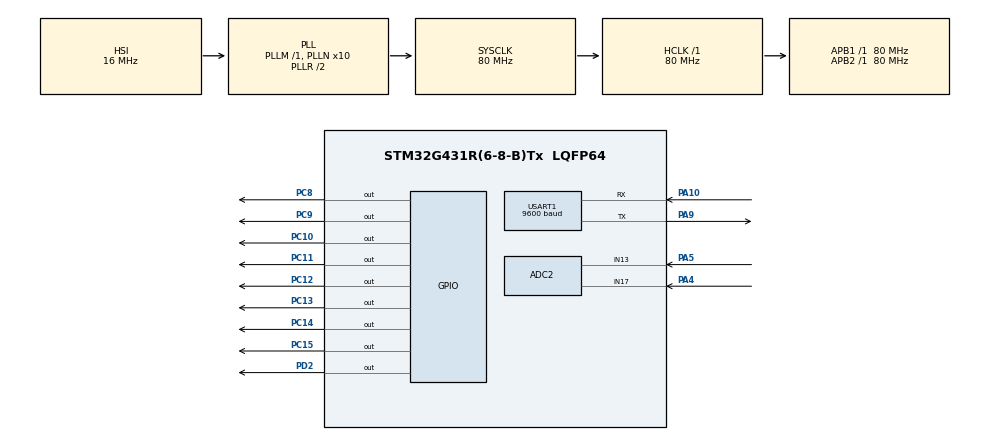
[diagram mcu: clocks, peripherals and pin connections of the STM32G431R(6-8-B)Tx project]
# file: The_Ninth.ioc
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ADC2.Channel-0\#ChannelRegularConversion=ADC_CHANNEL_17
ADC2.NbrOfConversionFlag=1
ADC2.OffsetNumber-0\#ChannelRegularConversion=ADC_OFFSET_NONE
ADC2.Rank-0\#ChannelRegularConversion=1
ADC2.SamplingTime-0\#ChannelRegularConversion=ADC_SAMPLETIME_2CYCLES_5
Mcu.Family=STM32G4
Mcu.Name=STM32G431R(6-8-B)Tx
Mcu.Package=LQFP64
NVIC.PriorityGroup=NVIC_PRIORITYGROUP_4
NVIC.USART1_IRQn=true\:1\:0\:true\:false\:true\:true\:true
PA10.Mode=Asynchronous
PA10.Signal=USART1_RX
PA4.Mode=IN17-Single-Ended
PA4.Signal=ADC2_IN17
PA5.Mode=IN13-Single-Ended
PA5.Signal=ADC2_IN13
PA9.Mode=Asynchronous
PA9.Signal=USART1_TX
PC10.Signal=GPIO_Output
PC11.Signal=GPIO_Output
PC12.Signal=GPIO_Output
PC13.Signal=GPIO_Output
PC14-OSC32_IN.Signal=GPIO_Output
PC15-OSC32_OUT.Signal=GPIO_Output
PC8.Signal=GPIO_Output
PC9.Signal=GPIO_Output
PD2.Signal=GPIO_Output
ProjectManager.HeapSize=0x200
ProjectManager.StackSize=0x400
ProjectManager.TargetToolchain=MDK-ARM V5.32
RCC.ADC12Freq_Value=80000000
RCC.AHBFreq_Value=80000000
RCC.APB1Freq_Value=80000000
RCC.APB1TimFreq_Value=80000000
RCC.APB2Freq_Value=80000000
RCC.APB2TimFreq_Value=80000000
RCC.CortexFreq_Value=80000000
RCC.EXTERNAL_CLOCK_VALUE=12288000
RCC.HCLKFreq_Value=80000000
RCC.HSE_VALUE=8000000
RCC.HSI48_VALUE=48000000
RCC.HSI_VALUE=16000000
RCC.LSE_VALUE=32768
RCC.PLLN=10
RCC.SYSCLKFreq_VALUE=80000000
RCC.SYSCLKSource=RCC_SYSCLKSOURCE_PLLCLK
RCC.USBFreq_Value=80000000
RCC.VCOOutputFreq_Value=160000000
USART1.BaudRate=9600
USART1.VirtualMode-Asynchronous=VM_ASYNC
VP_SYS_VS_DBSignals.Mode=DisableDeadBatterySignals
board=custom

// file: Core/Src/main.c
/* USER CODE BEGIN Header */
/**
  ******************************************************************************
  * @file           : main.c
  * @brief          : Main program body
  ******************************************************************************
  * @attention
  *
  * Copyright (c) 2022 STMicroelectronics.
  * All rights reserved.
  *
  * This software is licensed under terms that can be found in the LICENSE file
  * in the root directory of this software component.
  * If no LICENSE file comes with this software, it is provided AS-IS.
  *
  ******************************************************************************
  */
/* USER CODE END Header */
#include "main.h"
#include "adc.h"
#include "usart.h"
#include "gpio.h"

/* USER CODE BEGIN PV */
__IO uint32_t uwTick_Lcd_Set_Point;
__IO uint32_t uwTick_ADC_Set_Point;
__IO uint32_t uwTick_Key_Set_Point;
__IO uint32_t uwTick_Key_Long_Set_Point;
__IO uint32_t uwTick_Led1_Set_Point;
__IO uint32_t uwTick_Led2_Set_Point;

unsigned char pucStr_Disp[21],  pucStr[21];
float ADC_Value, Weight;
double Price_1, Price_2, Price_3, Total;
uint8_t Num = 1;
unsigned char ucKey_Down, ucKey_Val, ucKey_Old, ucKey_Up;
uint8_t State;
uint16_t Setting_Num;
uint16_t puiUw[3], puiUw_Old[3], ADC_RP5[11];
unsigned char str[40];
uint8_t Flag_Usart1, Flag_Led;
unsigned char ucLed;
/* USER CODE END PV */

void SystemClock_Config(void);
/* USER CODE BEGIN PFP */
void Lcd_Proc(void);
void ADC_Proc(void);
void Key_Proc(void);
void S1_Proc(void);
void S2_Proc(void);
void S3_Proc(void);
void Para_Read(void);
void USART_Proc(void);
void Led1_Proc(void);
void Led2_Proc(void);
void Led_Proc(void);
/* USER CODE END PFP */

int main(void)
{

  /* MCU Configuration--------------------------------------------------------*/

  /* Reset of all peripherals, Initializes the Flash interface and the Systick. */
  HAL_Init();

  /* Configure the system clock */
  SystemClock_Config();

  /* Initialize all configured peripherals */
  MX_GPIO_Init();
  MX_ADC2_Init();
  MX_USART1_UART_Init();
  /* USER CODE BEGIN 2 */
	LCD_Init();
	LCD_Clear(Black);
	LCD_SetBackColor(Black);
	LCD_SetTextColor(White);

	I2CInit();
	Para_Read();

  /* USER CODE END 2 */

  /* Infinite loop */
  while (1)
  {

    /* USER CODE BEGIN 3 */
		Lcd_Proc();
		ADC_Proc();
		Key_Proc();
		USART_Proc();
		Led_Proc();
  }
  /* USER CODE END 3 */
}

void SystemClock_Config(void)
{
  RCC_OscInitTypeDef RCC_OscInitStruct = {0};
  RCC_ClkInitTypeDef RCC_ClkInitStruct = {0};

  /** Configure the main internal regulator output voltage
  */
  HAL_PWREx_ControlVoltageScaling(PWR_REGULATOR_VOLTAGE_SCALE1);
  /** Initializes the RCC Oscillators according to the specified parameters
  * in the RCC_OscInitTypeDef structure.
  */
  RCC_OscInitStruct.OscillatorType = RCC_OSCILLATORTYPE_HSI;
  RCC_OscInitStruct.HSIState = RCC_HSI_ON;
  RCC_OscInitStruct.HSICalibrationValue = RCC_HSICALIBRATION_DEFAULT;
  RCC_OscInitStruct.PLL.PLLState = RCC_PLL_ON;
  RCC_OscInitStruct.PLL.PLLSource = RCC_PLLSOURCE_HSI;
  RCC_OscInitStruct.PLL.PLLM = RCC_PLLM_DIV1;
  RCC_OscInitStruct.PLL.PLLN = 10;
  RCC_OscInitStruct.PLL.PLLP = RCC_PLLP_DIV2;
  RCC_OscInitStruct.PLL.PLLQ = RCC_PLLQ_DIV2;
  RCC_OscInitStruct.PLL.PLLR = RCC_PLLR_DIV2;
  if (HAL_RCC_OscConfig(&RCC_OscInitStruct) != HAL_OK)
  {
    Error_Handler();
  }
  /** Initializes the CPU, AHB and APB buses clocks
  */
  RCC_ClkInitStruct.ClockType = RCC_CLOCKTYPE_HCLK|RCC_CLOCKTYPE_SYSCLK
                              |RCC_CLOCKTYPE_PCLK1|RCC_CLOCKTYPE_PCLK2;
  RCC_ClkInitStruct.SYSCLKSource = RCC_SYSCLKSOURCE_PLLCLK;
  RCC_ClkInitStruct.AHBCLKDivider = RCC_SYSCLK_DIV1;
  RCC_ClkInitStruct.APB1CLKDivider = RCC_HCLK_DIV1;
  RCC_ClkInitStruct.APB2CLKDivider = RCC_HCLK_DIV1;

  if (HAL_RCC_ClockConfig(&RCC_ClkInitStruct, FLASH_LATENCY_2) != HAL_OK)
  {
    Error_Handler();
  }
}
/* USER CODE BEGIN 4 */
void Para_Read(void)
{
	I2C_24C02_Read(pucStr, 0, 8);
	if(pucStr[0] == 0xaa)
	{
		puiUw[0] = pucStr[2] * 100 + pucStr[1];
		puiUw[1] = pucStr[4] * 100 + pucStr[3];
		puiUw[2] = pucStr[6] * 100 + pucStr[5];
		Setting_Num = pucStr[7];
	}
	else
	{
		puiUw[0] = 100;
		puiUw[1] = 100;
		puiUw[2] = 100;
		Setting_Num = 0;
	}
}

void Lcd_Proc(void)
{
	if((uwTick - uwTick_Lcd_Set_Point) <= 100)
		return;
	uwTick_Lcd_Set_Point = uwTick;

	if(!State)
	{
		sprintf((char*)pucStr_Disp, "      Parament      ");
		LCD_DisplayStringLine(Line0, pucStr_Disp);
		sprintf((char*)pucStr_Disp, "    Num:%1u           ", Num);
		LCD_DisplayStringLine(Line2, pucStr_Disp);
		sprintf((char*)pucStr_Disp, "    Price:%.2lfR/kg  ", puiUw[Num - 1] / 100.);
		LCD_DisplayStringLine(Line4, pucStr_Disp);
		sprintf((char*)pucStr_Disp, "    Weight:%.2fkg    ", Weight);
		LCD_DisplayStringLine(Line6, pucStr_Disp);
		sprintf((char*)pucStr_Disp, "    Total:%.2lfRMB   ", Total);
		LCD_DisplayStringLine(Line8, pucStr_Disp);
	}
	else
	{
		sprintf((char*)pucStr_Disp, "      Setting       ");
		LCD_DisplayStringLine(Line0, pucStr_Disp);

		if(State == 1) LCD_SetBackColor(Red);
		sprintf((char*)pucStr_Disp, "    1_Price:%.2lfR/kg ", puiUw[0] / 100.);
		LCD_DisplayStringLine(Line2, pucStr_Disp);
		LCD_SetBackColor(Black);

		if(State == 2) LCD_SetBackColor(Red);
		sprintf((char*)pucStr_Disp, "    2_Price:%.2lfR/kg ", puiUw[1] / 100.);
		LCD_DisplayStringLine(Line4, pucStr_Disp);
		LCD_SetBackColor(Black);

		if(State == 3) LCD_SetBackColor(Red);
		sprintf((char*)pucStr_Disp, "    3_Price:%.2lfR/kg ", puiUw[2] / 100.);
		LCD_DisplayStringLine(Line6, pucStr_Disp);
		LCD_SetBackColor(Black);

		sprintf((char*)pucStr_Disp, "    Set_Num:%u        ", Setting_Num);
		LCD_DisplayStringLine(Line8, pucStr_Disp);
	}
}

void ADC_Proc(void)
{
	int temp = 0;

	if((uwTick - uwTick_ADC_Set_Point) <= 10)
		return;
	uwTick_ADC_Set_Point = uwTick;

	for(int i = 0; i < 11; i++)
	{
		ADC_RP5[i] = Get_ADC2_RP5();
	}
	for(int i = 0; i < 5; i++)
	{
		for(int j = 0; j < 10 - i; j++)
		{
			if(ADC_RP5[j] > ADC_RP5[j + 1])
			{
				temp = ADC_RP5[j + 1];
				ADC_RP5[j + 1] = ADC_RP5[j];
				ADC_RP5[j] = temp;
			}
		}
	}
	Weight =  ADC_RP5[5] / 4095. * 3.3 * 3.03;
}

void USART_Proc(void)
{
	if(Flag_Usart1 == 1)
	{
		sprintf((char*)str, "U.W.1:%.2f\r\n", puiUw[0] / 100.);
		HAL_UART_Transmit(&huart1, (u8*)str, strlen((char*)str), 50);
		sprintf((char*)str, "U.W.2:%.2f\r\n", puiUw[1] / 100.);
		HAL_UART_Transmit(&huart1, (u8*)str, strlen((char*)str), 50);
		sprintf((char*)str, "U.W.3:%.2f\r\n", puiUw[2] / 100.);
		HAL_UART_Transmit(&huart1, (u8*)str, strlen((char*)str), 50);
	}
	else if(Flag_Usart1 == 2)
	{
		if(Num == 1)
		{
			sprintf((char*)str, "U.W.1:%.2f\r\n", puiUw[0] / 100.);
		}
		else if(Num == 2)
		{
			sprintf((char*)str, "U.W.2:%.2f\r\n", puiUw[1] / 100.);
		}
		else if(Num == 3)
		{
			sprintf((char*)str, "U.W.3:%.2f\r\n", puiUw[2] / 100.);
		}
		HAL_UART_Transmit(&huart1, (u8*)str, strlen((char*)str), 50);
		sprintf((char*)str, "G.W:%.2f\r\n", Weight);
		HAL_UART_Transmit(&huart1, (u8*)str, strlen((char*)str), 50);
		sprintf((char*)str, "Total:%.2f\r\n", Total);
		HAL_UART_Transmit(&huart1, (u8*)str, strlen((char*)str), 50);
	}

	Flag_Usart1 = 0;
}

void Key_Proc(void)
{
	if((uwTick - uwTick_Key_Set_Point) <= 50)
		return;
	uwTick_Key_Set_Point = uwTick;

	ucKey_Val = Scan_Btn();
	ucKey_Down = ucKey_Val & (ucKey_Old ^ ucKey_Val);
	ucKey_Up = ~ucKey_Val & (ucKey_Old ^ ucKey_Val);
	ucKey_Old = ucKey_Val;

	if(ucKey_Down > 0)
		uwTick_Key_Long_Set_Point = uwTick;

	if((uwTick - uwTick_Key_Long_Set_Point) <= 800)
	{
		switch(ucKey_Up)
		{
			case 1:
				S1_Proc();
			break;

			case 2:
				S2_Proc();
			break;

			case 3:
				S3_Proc();
			break;

			case 4:
				if(State)
				{
					if(++State == 4)
						State = 1;
				}
			break;

			case 5:
				if(!State)
					Num = 1;
			break;

			case 6:
				if(!State)
					Num = 2;
			break;

			case 7:
				if(!State)
					Num = 3;
			break;

			case 8:
				if(!State)
				{
					Flag_Usart1 = 2;

					Total = puiUw[Num - 1] * Weight;
				}
			break;
		}
	}
	else
	{
		switch(ucKey_Val)
		{
			case 2:
				if(State)
				{
					S2_Proc();
				}
			break;

			case 3:
				if(State)
				{
					S3_Proc();
				}
			break;
		}
	}
}

void S1_Proc(void)
{
	if(!State)
	{
		State = 1;
		Flag_Led = 1;

		puiUw_Old[0] = puiUw[0];
		puiUw_Old[1] = puiUw[1];
		puiUw_Old[2] = puiUw[2];
	}
	else
	{
		State = 0;
		Flag_Led = 0;

		if((puiUw[0] != puiUw_Old[0]) || (puiUw[1] != puiUw_Old[1]) || (puiUw[2] != puiUw_Old[2]))
		{
			pucStr[0] = 0xaa;
			pucStr[1] = puiUw[0] % 100;
			pucStr[2] = puiUw[0] / 100;
			pucStr[3] = puiUw[1] % 100;
			pucStr[4] = puiUw[1] / 100;
			pucStr[5] = puiUw[2] % 100;
			pucStr[6] = puiUw[2] / 100;
			pucStr[7] = ++Setting_Num;

			I2C_24C02_Write(pucStr, 0, 8);
		}
		Flag_Usart1 = 1;
	}
}
void S2_Proc(void)
{
	if(State)
	{
		if(puiUw[State - 1] < 1000)
		{
			puiUw[State - 1]++;
		}
	}
}

void S3_Proc(void)
{
	if(State)
	{
		if(puiUw[State - 1] > 0)
		{
			puiUw[State - 1]--;
		}
	}
}

void Led1_Proc(void)
{
	if((uwTick - uwTick_Led1_Set_Point) <= 800)
		return;
	uwTick_Led1_Set_Point = uwTick;

	ucLed ^= 0x01;
}

void Led2_Proc(void)
{
	if((uwTick - uwTick_Led1_Set_Point) <= 400)
		return;
	uwTick_Led1_Set_Point = uwTick;

	ucLed ^= 0x01;
}

void Led_Proc(void)
{
	if(!Flag_Led)
		Led1_Proc();
	else
		Led2_Proc();

	Led_Disp(ucLed);
}
/* USER CODE END 4 */

void Error_Handler(void)
{
  __disable_irq();
  while (1)
  {
  }
}
